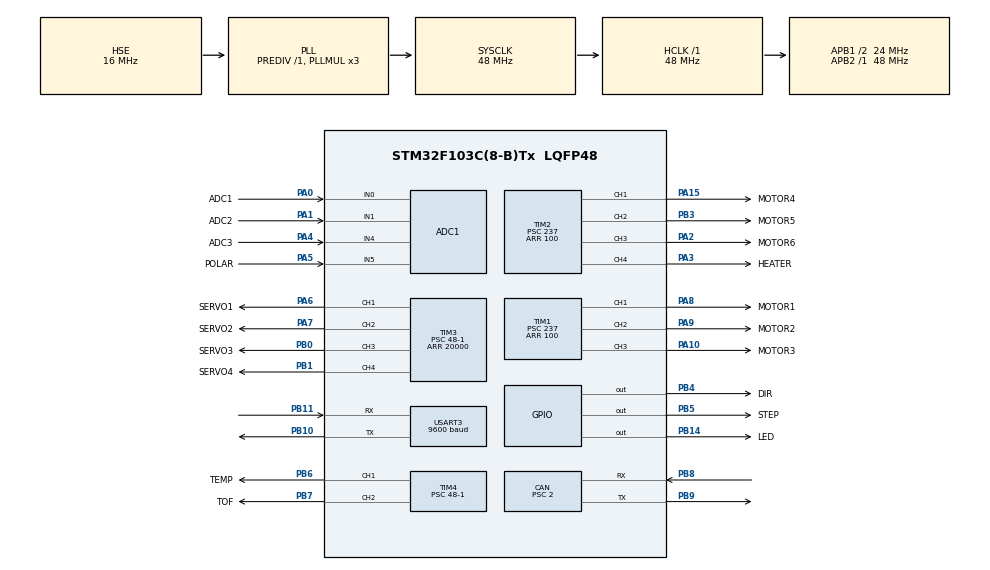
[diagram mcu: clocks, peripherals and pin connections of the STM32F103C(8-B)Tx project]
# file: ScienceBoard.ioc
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ADC1.Channel-1\#ChannelRegularConversion=ADC_CHANNEL_0
ADC1.NbrOfConversionFlag=1
ADC1.Rank-1\#ChannelRegularConversion=1
ADC1.SamplingTime-1\#ChannelRegularConversion=ADC_SAMPLETIME_1CYCLE_5
ADC1.master=1
CAN.ABOM=ENABLE
CAN.BS1=CAN_BS1_8TQ
CAN.BS2=CAN_BS2_3TQ
CAN.CalculateBaudRate=1000000
CAN.CalculateTimeBit=1000
CAN.CalculateTimeQuantum=83.33333333333333
CAN.Mode=CAN_MODE_NORMAL
CAN.NART=ENABLE
CAN.Prescaler=2
CAN.SJW=CAN_SJW_2TQ
Mcu.Family=STM32F1
Mcu.Name=STM32F103C(8-B)Tx
Mcu.Package=LQFP48
NVIC.PriorityGroup=NVIC_PRIORITYGROUP_4
NVIC.USART3_IRQn=true\:0\:0\:false\:false\:true\:true\:true\:true
NVIC.USB_LP_CAN1_RX0_IRQn=true\:0\:0\:false\:false\:true\:false\:true\:true
PA0-WKUP.GPIO_Label=ADC1
PA0-WKUP.Signal=ADCx_IN0
PA1.GPIO_Label=ADC2
PA1.Signal=ADCx_IN1
PA10.GPIO_Label=MOTOR3
PA10.Signal=S_TIM1_CH3
PA13.Mode=Serial_Wire
PA13.Signal=SYS_JTMS-SWDIO
PA14.Mode=Serial_Wire
PA14.Signal=SYS_JTCK-SWCLK
PA15.GPIO_Label=MOTOR4
PA15.Signal=S_TIM2_CH1_ETR
PA2.GPIO_Label=MOTOR6
PA2.Signal=S_TIM2_CH3
PA3.GPIO_Label=HEATER
PA3.Signal=S_TIM2_CH4
PA4.GPIO_Label=ADC3
PA4.Signal=ADCx_IN4
PA5.GPIO_Label=POLAR
PA5.Signal=ADCx_IN5
PA6.GPIO_Label=SERVO1
PA6.Signal=S_TIM3_CH1
PA7.GPIO_Label=SERVO2
PA7.Signal=S_TIM3_CH2
PA8.GPIO_Label=MOTOR1
PA8.Signal=S_TIM1_CH1
PA9.GPIO_Label=MOTOR2
PA9.Signal=S_TIM1_CH2
PB0.GPIO_Label=SERVO3
PB0.Signal=S_TIM3_CH3
PB1.GPIO_Label=SERVO4
PB1.Signal=S_TIM3_CH4
PB10.Mode=Asynchronous
PB10.Signal=USART3_TX
PB11.Mode=Asynchronous
PB11.Signal=USART3_RX
PB14.GPIO_Label=LED
PB14.Signal=GPIO_Output
PB3.GPIO_Label=MOTOR5
PB3.Signal=S_TIM2_CH2
PB4.GPIO_Label=DIR
PB4.Signal=GPIO_Output
PB5.GPIO_Label=STEP
PB5.Signal=GPIO_Output
PB6.GPIO_Label=TEMP
PB6.Signal=S_TIM4_CH1
PB7.GPIO_Label=TOF
PB7.Signal=S_TIM4_CH2
PB8.GPIO_PuPd=GPIO_PULLUP
PB8.Mode=CAN_Activate
PB8.Signal=CAN_RX
PB9.Mode=CAN_Activate
PB9.Signal=CAN_TX
PD0-OSC_IN.Mode=HSE-External-Oscillator
PD0-OSC_IN.Signal=RCC_OSC_IN
PD1-OSC_OUT.Mode=HSE-External-Oscillator
PD1-OSC_OUT.Signal=RCC_OSC_OUT
ProjectManager.HeapSize=0x200
ProjectManager.StackSize=0x400
ProjectManager.TargetToolchain=STM32CubeIDE
RCC.ADCPresc=RCC_ADCPCLK2_DIV4
RCC.AHBFreq_Value=48000000
RCC.APB1CLKDivider=RCC_HCLK_DIV2
RCC.APB1Freq_Value=24000000
RCC.APB1TimFreq_Value=48000000
RCC.APB2Freq_Value=48000000
RCC.APB2TimFreq_Value=48000000
RCC.HCLKFreq_Value=48000000
RCC.HSE_VALUE=16000000
RCC.PLLMUL=RCC_PLL_MUL3
RCC.PLLSourceVirtual=RCC_PLLSOURCE_HSE
RCC.SYSCLKFreq_VALUE=48000000
RCC.SYSCLKSource=RCC_SYSCLKSOURCE_PLLCLK
RCC.USBFreq_Value=48000000
SH.ADCx_IN0.0=ADC1_IN0,IN0
SH.ADCx_IN1.0=ADC1_IN1,IN1
SH.ADCx_IN4.0=ADC1_IN4,IN4
SH.ADCx_IN5.0=ADC1_IN5,IN5
SH.S_TIM1_CH1.0=TIM1_CH1,PWM Generation1 CH1
SH.S_TIM1_CH2.0=TIM1_CH2,PWM Generation2 CH2
SH.S_TIM1_CH3.0=TIM1_CH3,PWM Generation3 CH3
SH.S_TIM2_CH1_ETR.0=TIM2_CH1,PWM Generation1 CH1
SH.S_TIM2_CH2.0=TIM2_CH2,PWM Generation2 CH2
SH.S_TIM2_CH3.0=TIM2_CH3,PWM Generation3 CH3
SH.S_TIM2_CH4.0=TIM2_CH4,PWM Generation4 CH4
SH.S_TIM3_CH1.0=TIM3_CH1,PWM Generation1 CH1
SH.S_TIM3_CH2.0=TIM3_CH2,PWM Generation2 CH2
SH.S_TIM3_CH3.0=TIM3_CH3,PWM Generation3 CH3
SH.S_TIM3_CH4.0=TIM3_CH4,PWM Generation4 CH4
SH.S_TIM4_CH1.0=TIM4_CH1,PWM Generation1 CH1
SH.S_TIM4_CH2.0=TIM4_CH2,PWM Generation2 CH2
TIM1.Channel-PWM\ Generation1\ CH1=TIM_CHANNEL_1
TIM1.Channel-PWM\ Generation2\ CH2=TIM_CHANNEL_2
TIM1.Channel-PWM\ Generation3\ CH3=TIM_CHANNEL_3
TIM1.Period=100
TIM1.Prescaler=237
TIM2.Channel-PWM\ Generation1\ CH1=TIM_CHANNEL_1
TIM2.Channel-PWM\ Generation2\ CH2=TIM_CHANNEL_2
TIM2.Channel-PWM\ Generation3\ CH3=TIM_CHANNEL_3
TIM2.Channel-PWM\ Generation4\ CH4=TIM_CHANNEL_4
TIM2.Period=100
TIM2.Prescaler=237
TIM3.Channel-PWM\ Generation1\ CH1=TIM_CHANNEL_1
TIM3.Channel-PWM\ Generation2\ CH2=TIM_CHANNEL_2
TIM3.Channel-PWM\ Generation3\ CH3=TIM_CHANNEL_3
TIM3.Channel-PWM\ Generation4\ CH4=TIM_CHANNEL_4
TIM3.Period=20000
TIM3.Prescaler=48-1
TIM4.Channel-PWM\ Generation1\ CH1=TIM_CHANNEL_1
TIM4.Channel-PWM\ Generation2\ CH2=TIM_CHANNEL_2
TIM4.Prescaler=48-1
USART3.BaudRate=9600
USART3.VirtualMode=VM_ASYNC
board=custom

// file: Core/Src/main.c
/* USER CODE BEGIN Header */
/**
  ******************************************************************************
  * @file           : main.c
  * @brief          : Main program body
  ******************************************************************************
  * @attention
  *
  * Copyright (c) 2026 STMicroelectronics.
  * All rights reserved.
  *
  * This software is licensed under terms that can be found in the LICENSE file
  * in the root directory of this software component.
  * If no LICENSE file comes with this software, it is provided AS-IS.
  *
  ******************************************************************************
  */
/* CAN MESSAGES
 * Base ID: 30
 *
 * SET_MOTOR, Id: 0 (Jetson -> Science)
 * uint8_t pin
 * uint8_t duty_cycle (percent)
 * uint16_t duration
 * uint16_t ramp
 *
 * SET_SERVO, Id: 1 (Jetson -> Science)
 * uint8_t pin
 * uint16_t us
 *
 * POLAR_SCAN, Id: 2 (Jetson -> Science) (no data)
 *
 * ADC_DATA, Id: 3 (Science -> Jetson)
 * uint16_t adc1
 * uint16_t adc2
 * uint16_t adc3
 *
 * TEMP_DATA, Id: 4 (Science -> Jetson)
 * float temperature
 * float humidity
 *
 * CO2_DATA, Id: 5 (Science -> Jetson)
 * uint16_t ppm
 *
 * POLAR_DATA, Id: 6 (Science ->  Jetson)
 * uint8_t index
 * uint16_t[3] data
 */
/* USER CODE END Header */
#include "main.h"

/* USER CODE BEGIN PD */
#define CAN_ID 30

#define SET_MOTOR  0x00
#define SET_SERVO  0x01
#define POLAR_SCAN 0x02
#define ADC_DATA   0x03
#define TEMP_DATA  0x04
#define CO2_DATA   0x05
#define POLAR_DATA 0x06

#define SCAN_STEPS 96
#define MICROSTEPS 8
/* USER CODE END PD */

ADC_HandleTypeDef hadc1;

CAN_HandleTypeDef hcan;

TIM_HandleTypeDef htim1;
TIM_HandleTypeDef htim2;
TIM_HandleTypeDef htim3;
TIM_HandleTypeDef htim4;

UART_HandleTypeDef huart3;

/* USER CODE BEGIN PV */

// Flags and tracking variables
uint8_t start_polarimeter_scan = 0;
uint32_t last_dht22_read = 0;
uint32_t last_adc_read = 0;

uint8_t co2_buffer[16] = {0};
int co2_good = 0;

uint16_t sample_buf[SCAN_STEPS];

uint8_t polar_step = 0;
int polar_running = 0;
uint32_t polar_step_time = 0;

ADC_ChannelConfTypeDef polarConfig = {0};

#define NUM_DC_MOTORS 7
#define NUM_SERVOS    4

#define POLAR_MIN 390
#define POLAR_MAX 2310
#define POLAR_STEP 20
#define POLAR_SERVO 3

typedef struct {
    TIM_HandleTypeDef *htim;
    uint32_t channel;
} PwmMap_t;

static const PwmMap_t dc_motor_map[NUM_DC_MOTORS] = {
    { &htim1, TIM_CHANNEL_1 },  // Motor 1
    { &htim1, TIM_CHANNEL_2 },  // Motor 2
    { &htim1, TIM_CHANNEL_3 },  // Motor 3
    { &htim2, TIM_CHANNEL_1 },  // Motor 4
    { &htim2, TIM_CHANNEL_2 },  // Motor 5
    { &htim2, TIM_CHANNEL_3 },  // Motor 6
    { &htim2, TIM_CHANNEL_4 }   // Heater
};

static const PwmMap_t servo_map[NUM_SERVOS] = {
    { &htim3, TIM_CHANNEL_1 },
    { &htim3, TIM_CHANNEL_2 },
    { &htim3, TIM_CHANNEL_3 },
    { &htim3, TIM_CHANNEL_4 }
};

typedef struct {
    uint32_t target_duty;
    uint32_t start_duty;
    uint32_t current_duty;
    uint32_t start_time;
    uint32_t ramp_end_time;
    uint32_t turn_off_time;
} DC_Motor_t;

DC_Motor_t dc_motors[NUM_DC_MOTORS] = {0};
/* USER CODE END PV */

void SystemClock_Config(void);
static void MX_GPIO_Init(void);
static void MX_ADC1_Init(void);
static void MX_CAN_Init(void);
static void MX_TIM1_Init(void);
static void MX_TIM2_Init(void);
static void MX_TIM3_Init(void);
static void MX_TIM4_Init(void);
static void MX_USART3_UART_Init(void);
/* USER CODE BEGIN PFP */

void Read_DHT22(float *temperature, float *humidity);
uint16_t Read_Analog_Input(uint32_t channel);
void Delay_us(uint16_t us);
/* USER CODE END PFP */

/* USER CODE BEGIN 0 */
void Delay_us(uint16_t us) {
    uint16_t start = __HAL_TIM_GET_COUNTER(&htim4);
    while ((uint16_t)(__HAL_TIM_GET_COUNTER(&htim4) - start) < us);
}

void HAL_CAN_RxFifo0MsgPendingCallback(CAN_HandleTypeDef *hcan)
{
  CAN_RxHeaderTypeDef   RxHeader;
  uint8_t               RxData[8];

  if (HAL_CAN_GetRxMessage(hcan, CAN_RX_FIFO0, &RxHeader, RxData) != HAL_OK)
  {
    Error_Handler();
  }
  if ((RxHeader.StdId >> 5) == CAN_ID)
  {
	switch (RxHeader.StdId & 0x1f) {
	  case SET_MOTOR:
		uint8_t pin = RxData[0];
		if (pin < NUM_DC_MOTORS)
		{
		  uint32_t now     = HAL_GetTick();
		  uint32_t rampMs  = (uint32_t)((RxData[4] << 8) | RxData[5]) * 100u;
		  uint32_t holdMs  = (uint32_t)((RxData[2] << 8) | RxData[3]) * 100u;

		  dc_motors[pin].start_duty    = dc_motors[pin].current_duty;
		  dc_motors[pin].target_duty   = RxData[1];
		  dc_motors[pin].start_time    = now;
		  dc_motors[pin].ramp_end_time = now + rampMs;
		  dc_motors[pin].turn_off_time = now + holdMs;
		}
		break;

	  case SET_SERVO:
		if (RxData[0] < NUM_SERVOS)
		{
		  __HAL_TIM_SET_COMPARE(servo_map[RxData[0]].htim, servo_map[RxData[0]].channel, (RxData[1] << 8) | RxData[2]);
		}
		break;

	  case POLAR_SCAN:
		polar_step = 0;
		polar_running = 1;
		polar_step_time = HAL_GetTick();
		break;
	}
  }
  if (HAL_CAN_ActivateNotification(hcan, CAN_IT_RX_FIFO0_MSG_PENDING) != HAL_OK)
  {
    Error_Handler();
  }
}

void HAL_UART_RxCpltCallback(UART_HandleTypeDef *huart)
{
    co2_good = 1;
    HAL_UART_Receive_IT(&huart3, co2_buffer, 16);
}

/* USER CODE END 0 */

int main(void)
{

  /* MCU Configuration--------------------------------------------------------*/

  /* Reset of all peripherals, Initializes the Flash interface and the Systick. */
  HAL_Init();

  /* Configure the system clock */
  SystemClock_Config();

  /* Initialize all configured peripherals */
  MX_GPIO_Init();
  MX_ADC1_Init();
  MX_CAN_Init();
  MX_TIM1_Init();
  MX_TIM2_Init();
  MX_TIM3_Init();
  MX_TIM4_Init();
  MX_USART3_UART_Init();
  /* USER CODE BEGIN 2 */
  for (int i = 0; i < NUM_DC_MOTORS; i++) {
      HAL_TIM_PWM_Start(dc_motor_map[i].htim, dc_motor_map[i].channel);
  }

  for (int i = 0; i < NUM_SERVOS; i++) {
      HAL_TIM_PWM_Start(servo_map[i].htim, servo_map[i].channel);
  }

  // Free-running 1MHz counter on TIM4, used by Delay_us() and Read_DHT22()'s timeouts
  HAL_TIM_Base_Start(&htim4);

  CAN_FilterTypeDef canfilterconfig;

  canfilterconfig.FilterActivation = CAN_FILTER_ENABLE;
  canfilterconfig.FilterBank = 0;
  canfilterconfig.FilterFIFOAssignment = CAN_FILTER_FIFO0;
  canfilterconfig.FilterIdHigh = CAN_ID<<10;
  canfilterconfig.FilterIdLow = 0;
  canfilterconfig.FilterMaskIdHigh = 0x3f<<10;
  canfilterconfig.FilterMaskIdLow = 0;
  canfilterconfig.FilterMode = CAN_FILTERMODE_IDMASK;
  canfilterconfig.FilterScale = CAN_FILTERSCALE_32BIT;

  if (HAL_CAN_ConfigFilter(&hcan, &canfilterconfig) != HAL_OK)
  {
	  Error_Handler();
  }

  if (HAL_CAN_Start(&hcan) != HAL_OK)
  {
	  Error_Handler();
  }

  if (HAL_CAN_ActivateNotification(&hcan, CAN_IT_RX_FIFO0_MSG_PENDING) != HAL_OK)
  {
	  Error_Handler();
  }

  polarConfig.Channel = ADC_CHANNEL_5;
  polarConfig.Rank = ADC_REGULAR_RANK_1;
  polarConfig.SamplingTime = ADC_SAMPLETIME_239CYCLES_5;

  last_dht22_read = HAL_GetTick();

  HAL_UART_Receive_IT(&huart3, co2_buffer, 16);
  /* USER CODE END 2 */

  /* Infinite loop */
  /* USER CODE BEGIN WHILE */
  while (1)
  {
    uint32_t current_time = HAL_GetTick();

    // DC Motor ramping + auto-off (duty computed directly from elapsed time)
    for (int i = 0; i < NUM_DC_MOTORS; i++) {
        DC_Motor_t *m = &dc_motors[i];

        if (m->turn_off_time == 0) continue;

        if ((int32_t)(current_time - m->turn_off_time) >= 0) {
            __HAL_TIM_SET_COMPARE(dc_motor_map[i].htim, dc_motor_map[i].channel, 0);
            m->current_duty  = 0;
            m->target_duty   = 0;
            m->turn_off_time = 0;
            continue;
        }

        if ((int32_t)(current_time - m->ramp_end_time) >= 0) {
            if (m->current_duty != m->target_duty) {
                m->current_duty = m->target_duty;
                __HAL_TIM_SET_COMPARE(dc_motor_map[i].htim, dc_motor_map[i].channel, m->current_duty);
            }
            continue;
        }

        uint32_t elapsed  = current_time - m->start_time;
        uint32_t rampSpan = m->ramp_end_time - m->start_time;
        int32_t  delta    = (int32_t)m->target_duty - (int32_t)m->start_duty;
        int32_t  scaled   = m->start_duty + (delta * (int32_t)elapsed) / (int32_t)rampSpan;

        if (delta >= 0) {
            if (scaled > (int32_t)m->target_duty) scaled = m->target_duty;
        } else {
            if (scaled < (int32_t)m->target_duty) scaled = m->target_duty;
        }

        m->current_duty = (uint32_t)scaled;
        __HAL_TIM_SET_COMPARE(dc_motor_map[i].htim, dc_motor_map[i].channel, m->current_duty);
    }

    // Polarimeter
    if (polar_running) {
        if (HAL_GetTick() - polar_step_time >= 100) {
        	if (polar_step == 0) {
        		__HAL_TIM_SET_COMPARE(servo_map[POLAR_SERVO].htim, servo_map[POLAR_SERVO].channel, POLAR_MIN);
        		HAL_Delay(1500);
        	}
        	HAL_ADC_ConfigChannel(&hadc1, &polarConfig);

        	HAL_ADC_Start(&hadc1);
        	if (HAL_ADC_PollForConversion(&hadc1, 10) == HAL_OK) {
        	    sample_buf[polar_step] = (uint16_t)HAL_ADC_GetValue(&hadc1);
        	} else {
        	    sample_buf[polar_step] = 0xFFFF;
        	}
        	HAL_ADC_Stop(&hadc1);

        	/*for (uint16_t i = 0; i < MICROSTEPS; i++) {
        	    HAL_GPIO_WritePin(STEP_GPIO_Port, STEP_Pin, GPIO_PIN_SET);
        	    HAL_Delay(1);
        	    HAL_GPIO_WritePin(STEP_GPIO_Port, STEP_Pin, GPIO_PIN_RESET);
        	    HAL_Delay(1);
        	}*/
        	__HAL_TIM_SET_COMPARE(servo_map[POLAR_SERVO].htim, servo_map[POLAR_SERVO].channel, POLAR_MIN + POLAR_STEP * polar_step);
        	polar_step_time = HAL_GetTick();

        	if ((polar_step + 1) % 3 == 0) {
        		CAN_TxHeaderTypeDef   TxHeader;
        		uint8_t               TxData[8];
        		uint32_t              TxMailbox;

        		TxHeader.IDE = CAN_ID_STD;
        		TxHeader.StdId = (CAN_ID << 5) | POLAR_DATA;
        		TxHeader.RTR = CAN_RTR_DATA;
        		TxHeader.DLC = 7;

        		TxData[0] = polar_step - 2;
        		TxData[1] = (sample_buf[polar_step - 2] >> 8) & 0xff;
        		TxData[2] = sample_buf[polar_step - 2] & 0xff;
        		TxData[3] = (sample_buf[polar_step - 1] >> 8) & 0xff;
        		TxData[4] = sample_buf[polar_step - 1] & 0xff;
        		TxData[5] = (sample_buf[polar_step - 0] >> 8) & 0xff;
        		TxData[6] = sample_buf[polar_step - 0] & 0xff;

        		if (HAL_CAN_AddTxMessage(&hcan, &TxHeader, TxData, &TxMailbox) != HAL_OK)
        		{
        		  //Error_Handler();
        		  // Dropping is better than crashing
        		}
        	}

        	polar_step++;
        	if (polar_step == SCAN_STEPS) {
        		polar_running = 0;
        		for (int i = 0; i < SCAN_STEPS; i++) {
        			sample_buf[i] = 0;
        		}
        	}
        }
    }

    // Sensor Readings
    if (current_time - last_dht22_read >= 2000) {
        last_dht22_read = current_time;

        float temperature = 0.0f, moisture = 0.0f;
        uint32_t temp_bytes, moisture_bytes;

        Read_DHT22(&temperature, &moisture);

        memcpy(&temp_bytes, &temperature, 4);
        memcpy(&moisture_bytes, &moisture, 4);

        CAN_TxHeaderTypeDef   TxHeader;
        uint8_t               TxData[8];
        uint32_t              TxMailbox;

        TxHeader.IDE = CAN_ID_STD;
        TxHeader.StdId = (CAN_ID << 5) | TEMP_DATA;
        TxHeader.RTR = CAN_RTR_DATA;
        TxHeader.DLC = 8;

        TxData[0] = (temp_bytes >> 24) & 0xff;
        TxData[1] = (temp_bytes >> 16) & 0xff;
        TxData[2] = (temp_bytes >> 8) & 0xff;
        TxData[3] = temp_bytes & 0xff;
        TxData[4] = (moisture_bytes >> 24) & 0xff;
        TxData[5] = (moisture_bytes >> 16) & 0xff;
        TxData[6] = (moisture_bytes >> 8) & 0xff;
        TxData[7] = moisture_bytes & 0xff;

        if (HAL_CAN_AddTxMessage(&hcan, &TxHeader, TxData, &TxMailbox) != HAL_OK)
        {
          //Error_Handler();
        }
    }

    // CO2
    if (co2_good) {
    	co2_good = 0;
        uint16_t co2 = 0xFFFF;
        if (co2_buffer[0] == 0x42 && co2_buffer[1] == 0x4D)
        {
            // 2. Calculate the 8-bit additive checksum over bytes 0 to 14
            uint8_t calculated_checksum = 0;
            for (int i = 0; i < 15; i++)
            {
                calculated_checksum += co2_buffer[i];
            }

            // 3. Verify the computed checksum matches the packet's trailing byte
            if (calculated_checksum == co2_buffer[15])
            {
                // 4. Extract CO2 PPM (BYTE 6 is High Byte, BYTE 7 is Low Byte)
                co2 = ((uint16_t)co2_buffer[6] << 8) | co2_buffer[7];
            }
        }

        CAN_TxHeaderTypeDef   TxHeader;
        uint8_t               TxData[8];
        uint32_t              TxMailbox;

        TxHeader.IDE = CAN_ID_STD;
        TxHeader.StdId = (CAN_ID << 5) | CO2_DATA;
        TxHeader.RTR = CAN_RTR_DATA;
        TxHeader.DLC = 2;

        TxData[0] = (co2 >> 8) & 0xff;
        TxData[1] = co2 & 0xff;

        if (HAL_CAN_AddTxMessage(&hcan, &TxHeader, TxData, &TxMailbox) != HAL_OK)
        {
          //Error_Handler();
        }
    }

    if (current_time - last_adc_read >= 100) {
        last_adc_read = current_time;

        uint16_t adc1 = Read_Analog_Input(ADC_CHANNEL_5);
        uint16_t adc2 = Read_Analog_Input(ADC_CHANNEL_1);
        uint16_t adc3 = Read_Analog_Input(ADC_CHANNEL_4);

        CAN_TxHeaderTypeDef   TxHeader;
        uint8_t               TxData[8];
        uint32_t              TxMailbox;

        TxHeader.IDE = CAN_ID_STD;
        TxHeader.StdId = (CAN_ID << 5) | ADC_DATA;
        TxHeader.RTR = CAN_RTR_DATA;
        TxHeader.DLC = 6;

        TxData[0] = (adc1 >> 8) & 0xff;
        TxData[1] = adc1 & 0xff;
        TxData[2] = (adc2 >> 8) & 0xff;
        TxData[3] = adc2 & 0xff;
        TxData[4] = (adc3 >> 8) & 0xff;
        TxData[5] = adc3 & 0xff;

        if (HAL_CAN_AddTxMessage(&hcan, &TxHeader, TxData, &TxMailbox) != HAL_OK)
        {
          //Error_Handler();
        }
    }

    /* USER CODE END WHILE */

  }
}

void SystemClock_Config(void)
{
  RCC_OscInitTypeDef RCC_OscInitStruct = {0};
  RCC_ClkInitTypeDef RCC_ClkInitStruct = {0};
  RCC_PeriphCLKInitTypeDef PeriphClkInit = {0};

  /** Initializes the RCC Oscillators according to the specified parameters
  * in the RCC_OscInitTypeDef structure.
  */
  RCC_OscInitStruct.OscillatorType = RCC_OSCILLATORTYPE_HSE;
  RCC_OscInitStruct.HSEState = RCC_HSE_ON;
  RCC_OscInitStruct.HSEPredivValue = RCC_HSE_PREDIV_DIV1;
  RCC_OscInitStruct.HSIState = RCC_HSI_ON;
  RCC_OscInitStruct.PLL.PLLState = RCC_PLL_ON;
  RCC_OscInitStruct.PLL.PLLSource = RCC_PLLSOURCE_HSE;
  RCC_OscInitStruct.PLL.PLLMUL = RCC_PLL_MUL3;
  if (HAL_RCC_OscConfig(&RCC_OscInitStruct) != HAL_OK)
  {
    Error_Handler();
  }

  /** Initializes the CPU, AHB and APB buses clocks
  */
  RCC_ClkInitStruct.ClockType = RCC_CLOCKTYPE_HCLK|RCC_CLOCKTYPE_SYSCLK
                              |RCC_CLOCKTYPE_PCLK1|RCC_CLOCKTYPE_PCLK2;
  RCC_ClkInitStruct.SYSCLKSource = RCC_SYSCLKSOURCE_PLLCLK;
  RCC_ClkInitStruct.AHBCLKDivider = RCC_SYSCLK_DIV1;
  RCC_ClkInitStruct.APB1CLKDivider = RCC_HCLK_DIV2;
  RCC_ClkInitStruct.APB2CLKDivider = RCC_HCLK_DIV1;

  if (HAL_RCC_ClockConfig(&RCC_ClkInitStruct, FLASH_LATENCY_1) != HAL_OK)
  {
    Error_Handler();
  }
  PeriphClkInit.PeriphClockSelection = RCC_PERIPHCLK_ADC;
  PeriphClkInit.AdcClockSelection = RCC_ADCPCLK2_DIV4;
  if (HAL_RCCEx_PeriphCLKConfig(&PeriphClkInit) != HAL_OK)
  {
    Error_Handler();
  }
}

static void MX_ADC1_Init(void)
{

  ADC_ChannelConfTypeDef sConfig = {0};

  /** Common config
  */
  hadc1.Instance = ADC1;
  hadc1.Init.ScanConvMode = ADC_SCAN_DISABLE;
  hadc1.Init.ContinuousConvMode = DISABLE;
  hadc1.Init.DiscontinuousConvMode = DISABLE;
  hadc1.Init.ExternalTrigConv = ADC_SOFTWARE_START;
  hadc1.Init.DataAlign = ADC_DATAALIGN_RIGHT;
  hadc1.Init.NbrOfConversion = 1;
  if (HAL_ADC_Init(&hadc1) != HAL_OK)
  {
    Error_Handler();
  }

  /** Configure Regular Channel
  */
  sConfig.Channel = ADC_CHANNEL_0;
  sConfig.Rank = ADC_REGULAR_RANK_1;
  sConfig.SamplingTime = ADC_SAMPLETIME_1CYCLE_5;
  if (HAL_ADC_ConfigChannel(&hadc1, &sConfig) != HAL_OK)
  {
    Error_Handler();
  }

}

static void MX_CAN_Init(void)
{

  hcan.Instance = CAN1;
  hcan.Init.Prescaler = 2;
  hcan.Init.Mode = CAN_MODE_NORMAL;
  hcan.Init.SyncJumpWidth = CAN_SJW_2TQ;
  hcan.Init.TimeSeg1 = CAN_BS1_8TQ;
  hcan.Init.TimeSeg2 = CAN_BS2_3TQ;
  hcan.Init.TimeTriggeredMode = DISABLE;
  hcan.Init.AutoBusOff = ENABLE;
  hcan.Init.AutoWakeUp = DISABLE;
  hcan.Init.AutoRetransmission = ENABLE;
  hcan.Init.ReceiveFifoLocked = DISABLE;
  hcan.Init.TransmitFifoPriority = DISABLE;
  if (HAL_CAN_Init(&hcan) != HAL_OK)
  {
    Error_Handler();
  }

}

static void MX_TIM1_Init(void)
{

  TIM_MasterConfigTypeDef sMasterConfig = {0};
  TIM_OC_InitTypeDef sConfigOC = {0};
  TIM_BreakDeadTimeConfigTypeDef sBreakDeadTimeConfig = {0};

  htim1.Instance = TIM1;
  htim1.Init.Prescaler = 237;
  htim1.Init.CounterMode = TIM_COUNTERMODE_UP;
  htim1.Init.Period = 100;
  htim1.Init.ClockDivision = TIM_CLOCKDIVISION_DIV1;
  htim1.Init.RepetitionCounter = 0;
  htim1.Init.AutoReloadPreload = TIM_AUTORELOAD_PRELOAD_DISABLE;
  if (HAL_TIM_PWM_Init(&htim1) != HAL_OK)
  {
    Error_Handler();
  }
  sMasterConfig.MasterOutputTrigger = TIM_TRGO_RESET;
  sMasterConfig.MasterSlaveMode = TIM_MASTERSLAVEMODE_DISABLE;
  if (HAL_TIMEx_MasterConfigSynchronization(&htim1, &sMasterConfig) != HAL_OK)
  {
    Error_Handler();
  }
  sConfigOC.OCMode = TIM_OCMODE_PWM1;
  sConfigOC.Pulse = 0;
  sConfigOC.OCPolarity = TIM_OCPOLARITY_HIGH;
  sConfigOC.OCNPolarity = TIM_OCNPOLARITY_HIGH;
  sConfigOC.OCFastMode = TIM_OCFAST_DISABLE;
  sConfigOC.OCIdleState = TIM_OCIDLESTATE_RESET;
  sConfigOC.OCNIdleState = TIM_OCNIDLESTATE_RESET;
  if (HAL_TIM_PWM_ConfigChannel(&htim1, &sConfigOC, TIM_CHANNEL_1) != HAL_OK)
  {
    Error_Handler();
  }
  if (HAL_TIM_PWM_ConfigChannel(&htim1, &sConfigOC, TIM_CHANNEL_2) != HAL_OK)
  {
    Error_Handler();
  }
  if (HAL_TIM_PWM_ConfigChannel(&htim1, &sConfigOC, TIM_CHANNEL_3) != HAL_OK)
  {
    Error_Handler();
  }
  sBreakDeadTimeConfig.OffStateRunMode = TIM_OSSR_DISABLE;
  sBreakDeadTimeConfig.OffStateIDLEMode = TIM_OSSI_DISABLE;
  sBreakDeadTimeConfig.LockLevel = TIM_LOCKLEVEL_OFF;
  sBreakDeadTimeConfig.DeadTime = 0;
  sBreakDeadTimeConfig.BreakState = TIM_BREAK_DISABLE;
  sBreakDeadTimeConfig.BreakPolarity = TIM_BREAKPOLARITY_HIGH;
  sBreakDeadTimeConfig.AutomaticOutput = TIM_AUTOMATICOUTPUT_DISABLE;
  if (HAL_TIMEx_ConfigBreakDeadTime(&htim1, &sBreakDeadTimeConfig) != HAL_OK)
  {
    Error_Handler();
  }
  HAL_TIM_MspPostInit(&htim1);

}

static void MX_TIM2_Init(void)
{

  TIM_MasterConfigTypeDef sMasterConfig = {0};
  TIM_OC_InitTypeDef sConfigOC = {0};

  htim2.Instance = TIM2;
  htim2.Init.Prescaler = 237;
  htim2.Init.CounterMode = TIM_COUNTERMODE_UP;
  htim2.Init.Period = 100;
  htim2.Init.ClockDivision = TIM_CLOCKDIVISION_DIV1;
  htim2.Init.AutoReloadPreload = TIM_AUTORELOAD_PRELOAD_DISABLE;
  if (HAL_TIM_PWM_Init(&htim2) != HAL_OK)
  {
    Error_Handler();
  }
  sMasterConfig.MasterOutputTrigger = TIM_TRGO_RESET;
  sMasterConfig.MasterSlaveMode = TIM_MASTERSLAVEMODE_DISABLE;
  if (HAL_TIMEx_MasterConfigSynchronization(&htim2, &sMasterConfig) != HAL_OK)
  {
    Error_Handler();
  }
  sConfigOC.OCMode = TIM_OCMODE_PWM1;
  sConfigOC.Pulse = 0;
  sConfigOC.OCPolarity = TIM_OCPOLARITY_HIGH;
  sConfigOC.OCFastMode = TIM_OCFAST_DISABLE;
  if (HAL_TIM_PWM_ConfigChannel(&htim2, &sConfigOC, TIM_CHANNEL_1) != HAL_OK)
  {
    Error_Handler();
  }
  if (HAL_TIM_PWM_ConfigChannel(&htim2, &sConfigOC, TIM_CHANNEL_2) != HAL_OK)
  {
    Error_Handler();
  }
  if (HAL_TIM_PWM_ConfigChannel(&htim2, &sConfigOC, TIM_CHANNEL_3) != HAL_OK)
  {
    Error_Handler();
  }
  if (HAL_TIM_PWM_ConfigChannel(&htim2, &sConfigOC, TIM_CHANNEL_4) != HAL_OK)
  {
    Error_Handler();
  }
  HAL_TIM_MspPostInit(&htim2);

}

static void MX_TIM3_Init(void)
{

  TIM_MasterConfigTypeDef sMasterConfig = {0};
  TIM_OC_InitTypeDef sConfigOC = {0};

  htim3.Instance = TIM3;
  htim3.Init.Prescaler = 48-1;
  htim3.Init.CounterMode = TIM_COUNTERMODE_UP;
  htim3.Init.Period = 20000;
  htim3.Init.ClockDivision = TIM_CLOCKDIVISION_DIV1;
  htim3.Init.AutoReloadPreload = TIM_AUTORELOAD_PRELOAD_DISABLE;
  if (HAL_TIM_PWM_Init(&htim3) != HAL_OK)
  {
    Error_Handler();
  }
  sMasterConfig.MasterOutputTrigger = TIM_TRGO_RESET;
  sMasterConfig.MasterSlaveMode = TIM_MASTERSLAVEMODE_DISABLE;
  if (HAL_TIMEx_MasterConfigSynchronization(&htim3, &sMasterConfig) != HAL_OK)
  {
    Error_Handler();
  }
  sConfigOC.OCMode = TIM_OCMODE_PWM1;
  sConfigOC.Pulse = 0;
  sConfigOC.OCPolarity = TIM_OCPOLARITY_HIGH;
  sConfigOC.OCFastMode = TIM_OCFAST_DISABLE;
  if (HAL_TIM_PWM_ConfigChannel(&htim3, &sConfigOC, TIM_CHANNEL_1) != HAL_OK)
  {
    Error_Handler();
  }
  if (HAL_TIM_PWM_ConfigChannel(&htim3, &sConfigOC, TIM_CHANNEL_2) != HAL_OK)
  {
    Error_Handler();
  }
  if (HAL_TIM_PWM_ConfigChannel(&htim3, &sConfigOC, TIM_CHANNEL_3) != HAL_OK)
  {
    Error_Handler();
  }
  if (HAL_TIM_PWM_ConfigChannel(&htim3, &sConfigOC, TIM_CHANNEL_4) != HAL_OK)
  {
    Error_Handler();
  }
  HAL_TIM_MspPostInit(&htim3);

}

static void MX_TIM4_Init(void)
{

  TIM_MasterConfigTypeDef sMasterConfig = {0};
  TIM_OC_InitTypeDef sConfigOC = {0};

  htim4.Instance = TIM4;
  htim4.Init.Prescaler = 48-1;
  htim4.Init.CounterMode = TIM_COUNTERMODE_UP;
  htim4.Init.Period = 65535;
  htim4.Init.ClockDivision = TIM_CLOCKDIVISION_DIV1;
  htim4.Init.AutoReloadPreload = TIM_AUTORELOAD_PRELOAD_DISABLE;
  if (HAL_TIM_PWM_Init(&htim4) != HAL_OK)
  {
    Error_Handler();
  }
  sMasterConfig.MasterOutputTrigger = TIM_TRGO_RESET;
  sMasterConfig.MasterSlaveMode = TIM_MASTERSLAVEMODE_DISABLE;
  if (HAL_TIMEx_MasterConfigSynchronization(&htim4, &sMasterConfig) != HAL_OK)
  {
    Error_Handler();
  }
  sConfigOC.OCMode = TIM_OCMODE_PWM1;
  sConfigOC.Pulse = 0;
  sConfigOC.OCPolarity = TIM_OCPOLARITY_HIGH;
  sConfigOC.OCFastMode = TIM_OCFAST_DISABLE;
  if (HAL_TIM_PWM_ConfigChannel(&htim4, &sConfigOC, TIM_CHANNEL_1) != HAL_OK)
  {
    Error_Handler();
  }
  if (HAL_TIM_PWM_ConfigChannel(&htim4, &sConfigOC, TIM_CHANNEL_2) != HAL_OK)
  {
    Error_Handler();
  }
  HAL_TIM_MspPostInit(&htim4);

}

static void MX_USART3_UART_Init(void)
{

  huart3.Instance = USART3;
  huart3.Init.BaudRate = 9600;
  huart3.Init.WordLength = UART_WORDLENGTH_8B;
  huart3.Init.StopBits = UART_STOPBITS_1;
  huart3.Init.Parity = UART_PARITY_NONE;
  huart3.Init.Mode = UART_MODE_TX_RX;
  huart3.Init.HwFlowCtl = UART_HWCONTROL_NONE;
  huart3.Init.OverSampling = UART_OVERSAMPLING_16;
  if (HAL_UART_Init(&huart3) != HAL_OK)
  {
    Error_Handler();
  }

}

static void MX_GPIO_Init(void)
{
  GPIO_InitTypeDef GPIO_InitStruct = {0};

  /* GPIO Ports Clock Enable */
  __HAL_RCC_GPIOD_CLK_ENABLE();
  __HAL_RCC_GPIOA_CLK_ENABLE();
  __HAL_RCC_GPIOB_CLK_ENABLE();

  /*Configure GPIO pin Output Level */
  HAL_GPIO_WritePin(GPIOB, LED_Pin|DIR_Pin|STEP_Pin, GPIO_PIN_RESET);

  /*Configure GPIO pins : LED_Pin DIR_Pin STEP_Pin */
  GPIO_InitStruct.Pin = LED_Pin|DIR_Pin|STEP_Pin;
  GPIO_InitStruct.Mode = GPIO_MODE_OUTPUT_PP;
  GPIO_InitStruct.Pull = GPIO_NOPULL;
  GPIO_InitStruct.Speed = GPIO_SPEED_FREQ_LOW;
  HAL_GPIO_Init(GPIOB, &GPIO_InitStruct);

}

/* USER CODE BEGIN 4 */

void Set_Pin_Output(GPIO_TypeDef *GPIOx, uint16_t GPIO_Pin) {
    GPIO_InitTypeDef GPIO_InitStruct = {0};
    GPIO_InitStruct.Pin = GPIO_Pin;
    GPIO_InitStruct.Mode = GPIO_MODE_OUTPUT_PP;
    GPIO_InitStruct.Speed = GPIO_SPEED_FREQ_HIGH;
    HAL_GPIO_Init(GPIOx, &GPIO_InitStruct);
}

void Set_Pin_Input(GPIO_TypeDef *GPIOx, uint16_t GPIO_Pin) {
    GPIO_InitTypeDef GPIO_InitStruct = {0};
    GPIO_InitStruct.Pin = GPIO_Pin;
    GPIO_InitStruct.Mode = GPIO_MODE_INPUT;
    GPIO_InitStruct.Pull = GPIO_NOPULL;
    HAL_GPIO_Init(GPIOx, &GPIO_InitStruct);
}

void Read_DHT22(float *temperature, float *humidity){
    uint8_t data[5] = {0, 0, 0, 0, 0};
    uint8_t i, j;
    uint16_t start_time;
    const uint16_t timeout_us = 200; // 200us safety limit for individual signal phases

    TIM4->CNT = 0;

    // Host Start Signal (PB6 = TIM4_CH1 pin, used here in bit-banged GPIO mode)
    Set_Pin_Output(GPIOB, GPIO_PIN_6);
    HAL_GPIO_WritePin(GPIOB, GPIO_PIN_6, GPIO_PIN_RESET);
    HAL_Delay(18); // Pull low for 18ms
    HAL_GPIO_WritePin(GPIOB, GPIO_PIN_6, GPIO_PIN_SET);
    Delay_us(30);  // Pull high for 30us

    // Switch to Input to read DHT response
    Set_Pin_Input(GPIOB, GPIO_PIN_6);

    // Wait for DHT response (low 80us then high 80us)
    Delay_us(40);
    if (!(HAL_GPIO_ReadPin(GPIOB, GPIO_PIN_6) == GPIO_PIN_RESET)) return;

    // Safety Timeout for initial low phase
    start_time = __HAL_TIM_GET_COUNTER(&htim4);
    while(HAL_GPIO_ReadPin(GPIOB, GPIO_PIN_6) == GPIO_PIN_RESET) {
        if ((uint16_t)(__HAL_TIM_GET_COUNTER(&htim4) - start_time) > timeout_us) return;
    }

    // Safety Timeout for initial high phase
    start_time = __HAL_TIM_GET_COUNTER(&htim4);
    while(HAL_GPIO_ReadPin(GPIOB, GPIO_PIN_6) == GPIO_PIN_SET) {
        if ((uint16_t)(__HAL_TIM_GET_COUNTER(&htim4) - start_time) > timeout_us) return;
    }

    // Read 40 bits = 5 bytes
    for (j = 0; j < 5; j++) {
        for (i = 0; i < 8; i++) {
            // Safety Timeout waiting for low bit preamble to end (pin goes high)
            start_time = __HAL_TIM_GET_COUNTER(&htim4);
            while(HAL_GPIO_ReadPin(GPIOB, GPIO_PIN_6) == GPIO_PIN_RESET) {
                if ((uint16_t)(__HAL_TIM_GET_COUNTER(&htim4) - start_time) > timeout_us) return;
            }

            Delay_us(40); // Check pin state after 40 microseconds

            if (HAL_GPIO_ReadPin(GPIOB, GPIO_PIN_6) == GPIO_PIN_SET) {
                data[j] |= (1 << (7 - i)); // It's a '1'

                // Safety Timeout waiting for high data transmission to end
                start_time = __HAL_TIM_GET_COUNTER(&htim4);
                while(HAL_GPIO_ReadPin(GPIOB, GPIO_PIN_6) == GPIO_PIN_SET) {
                    if ((uint16_t)(__HAL_TIM_GET_COUNTER(&htim4) - start_time) > timeout_us) return;
                }
            }
        }
    }

    // Check Checksum and Parse
    uint8_t check = data[0] + data[1] + data[2] + data[3];
    if (check == data[4]) {
        short raw_humidity = (data[0] << 8) | data[1];
        short raw_temperature = (data[2] << 8) | data[3];

        *humidity = (float)raw_humidity / 10.0f;
        *temperature = (float)raw_temperature / 10.0f;
    }
}

uint16_t Read_Analog_Input(uint32_t channel) {
    uint16_t adc_val = 0xFFFF;
    ADC_ChannelConfTypeDef sConfig = {0};

    sConfig.Channel = channel;
    sConfig.Rank = ADC_REGULAR_RANK_1;
    sConfig.SamplingTime = ADC_SAMPLETIME_1CYCLE_5;
    HAL_ADC_ConfigChannel(&hadc1, &sConfig);

    HAL_ADC_Start(&hadc1);
    if (HAL_ADC_PollForConversion(&hadc1, 10) == HAL_OK) {
        adc_val = HAL_ADC_GetValue(&hadc1);
    }
    HAL_ADC_Stop(&hadc1);

    return adc_val;
}

/* USER CODE END 4 */

void Error_Handler(void)
{
  /* USER CODE BEGIN Error_Handler_Debug */
  /* User can add his own implementation to report the HAL error return state */
  __disable_irq();
  HAL_GPIO_WritePin(LED_GPIO_Port, LED_Pin, GPIO_PIN_SET);
  while (1)
  {
  }
  /* USER CODE END Error_Handler_Debug */
}
